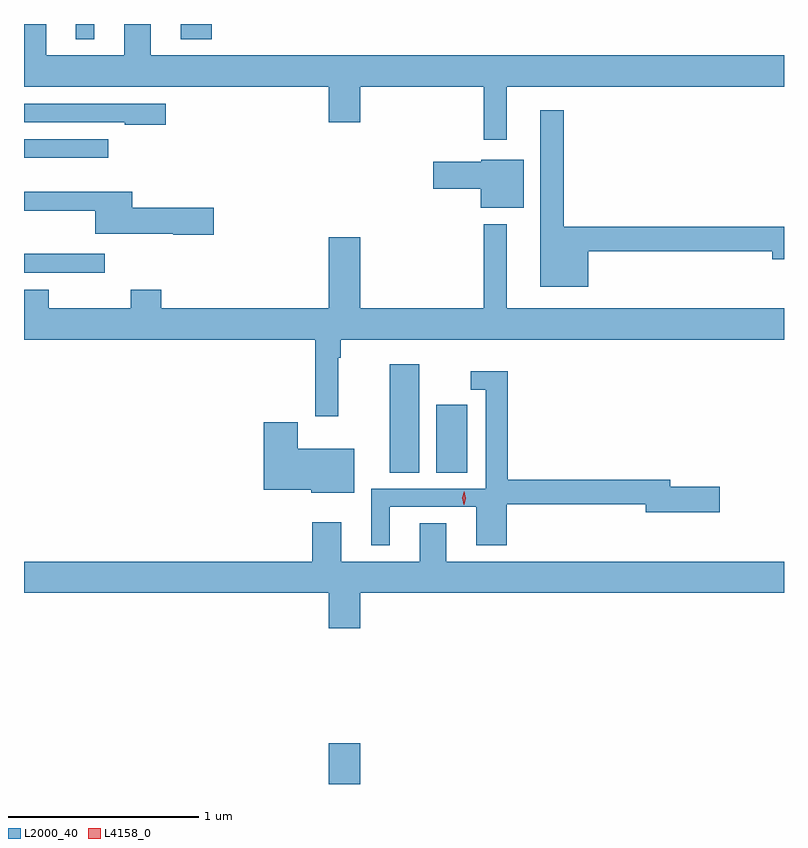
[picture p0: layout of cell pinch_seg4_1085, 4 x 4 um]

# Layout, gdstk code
import gdstk
lib = gdstk.Library(unit=1e-6, precision=1e-09)
def R(c, l, rs):  # rectangles x0, y0, x1, y1
    for r in rs: c.add(gdstk.rectangle(r[:2], r[2:], *l))
def P(c, l, *ps):  # polygons
    for p in ps: c.add(gdstk.Polygon(p, *l))
L2000_40 = (2000, 40)
L4158_0 = (4158, 0)

pinch_seg4_1085 = lib.new_cell('pinch_seg4_1085')
R(pinch_seg4_1085, L2000_40, [(428.744,815.793,428.908,816.007), (429.065,817.432,429.22,818.002), (429.308,817.432,429.472,817.789), (427.139,818.484,427.564,818.583), (427.139,819.089,427.582,819.186), (427.412,819.714,427.51,819.793), (427.964,819.714,428.126,819.793)])
P(pinch_seg4_1085, L2000_40, [(429.679,819.464),(431.139,819.464),(431.139,819.628),(427.807,819.628),(427.807,819.793),(427.667,819.793),(427.667,819.628),(427.255,819.628),(427.255,819.793),(427.139,819.793),(427.139,819.464),(428.744,819.464),(428.744,819.276),(428.908,819.276),(428.908,819.464),(429.558,819.464),(429.558,819.183),(429.679,819.183)],
  [(427.885,819.372),(427.139,819.372),(427.139,819.276),(427.669,819.276),(427.669,819.264),(427.885,819.264)],
  [(430.108,818.598),(431.078,818.598),(431.078,818.555),(431.139,818.555),(431.139,818.726),(429.979,818.726),(429.979,819.34),(429.857,819.34),(429.857,818.411),(430.108,818.411)],
  [(429.769,819.079),(429.546,819.079),(429.546,819.069),(429.294,819.069),(429.294,818.927),(429.542,818.927),(429.542,818.825),(429.769,818.825)],
  [(428.137,818.825),(427.708,818.825),(427.708,818.911),(427.515,818.911),(427.515,818.909),(427.139,818.909),(427.139,818.809),(427.514,818.809),(427.514,818.69),(427.924,818.69),(427.924,818.683),(428.137,818.683)],
  [(428.792,818.036),(428.807,818.036),(428.807,818.132),(431.139,818.132),(431.139,818.296),(429.679,818.296),(429.679,818.74),(429.558,818.74),(429.558,818.296),(428.908,818.296),(428.908,818.671),(428.744,818.671),(428.744,818.296),(427.862,818.296),(427.862,818.395),(427.702,818.395),(427.702,818.296),(427.269,818.296),(427.269,818.395),(427.139,818.395),(427.139,818.132),(428.671,818.132),(428.671,817.728),(428.792,817.728)],
  [(429.064,817.251),(429.518,817.251),(429.518,817.05),(429.68,817.05),(429.68,817.266),(430.412,817.266),(430.412,817.223),(430.801,817.223),(430.801,817.358),(430.54,817.358),(430.54,817.394),(429.686,817.394),(429.686,817.966),(429.489,817.966),(429.489,817.869),(429.57,817.869),(429.57,817.347),(428.966,817.347),(428.966,817.05),(429.064,817.05)],
  [(428.878,817.558),(428.58,817.558),(428.58,817.696),(428.402,817.696),(428.402,817.343),(428.652,817.343),(428.652,817.325),(428.878,817.325)],
  [(428.908,816.8),(431.139,816.8),(431.139,816.964),(429.361,816.964),(429.361,817.166),(429.221,817.166),(429.221,816.964),(428.809,816.964),(428.809,817.171),(428.657,817.171),(428.657,816.964),(427.139,816.964),(427.139,816.8),(428.744,816.8),(428.744,816.612),(428.908,816.612)])
P(pinch_seg4_1085, L4158_0, [(429.454,817.262),(429.454,817.263),(429.446,817.299),(429.456,817.335),(429.456,817.335),(429.457,817.335),(429.465,817.298),(429.455,817.263)])

lib.write_gds('pinch_seg4_1085.gds')
